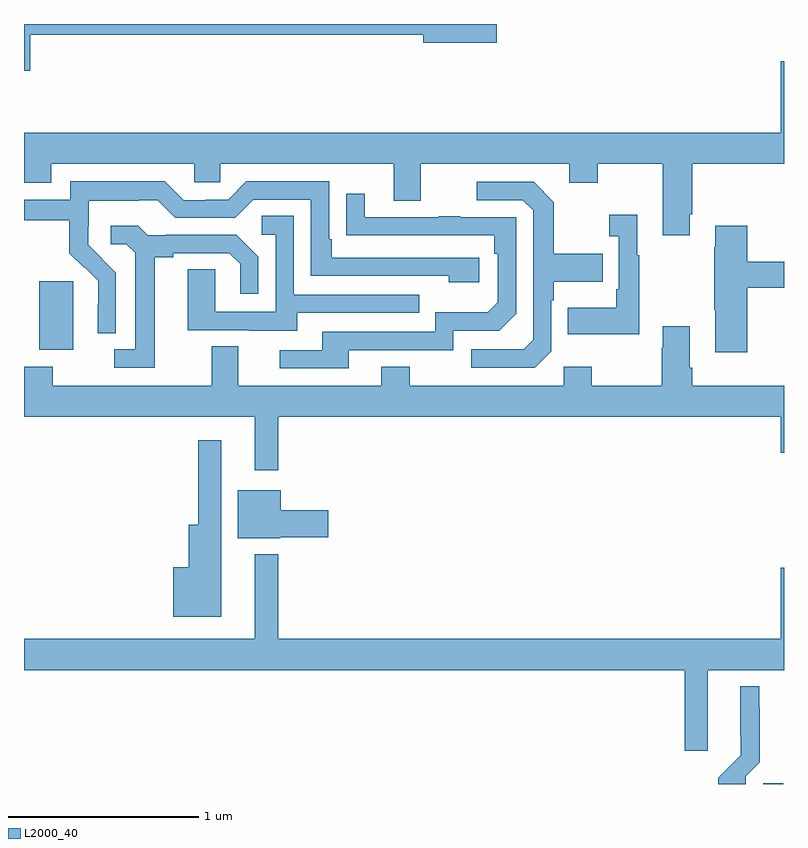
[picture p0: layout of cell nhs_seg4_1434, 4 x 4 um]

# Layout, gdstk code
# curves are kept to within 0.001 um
import gdstk
lib = gdstk.Library(unit=1e-6, precision=1e-09)
def R(c, l, rs):  # rectangles x0, y0, x1, y1
    for r in rs: c.add(gdstk.rectangle(r[:2], r[2:], *l))
def P(c, l, *ps):  # polygons
    for p in ps: c.add(gdstk.Polygon(p, *l))
L2000_40 = (2000, 40)

nhs_seg4_1434 = lib.new_cell('nhs_seg4_1434')
R(nhs_seg4_1434, L2000_40, [(188.891,782.9,188.995,782.905), (185.081,785.186,185.26,785.547)])
P(nhs_seg4_1434, L2000_40, [(185.033,786.844),(187.1,786.844),(187.1,786.802),(187.489,786.802),(187.489,786.9),(185,786.9),(185,786.654),(185.033,786.654)],
  [(188.503,785.899),(188.516,785.899),(188.516,786.164),(189,786.164),(189,786.703),(188.984,786.703),(188.984,786.328),(185,786.328),(185,786.065),(185.143,786.065),(185.143,786.164),(185.895,786.164),(185.895,786.066),(186.033,786.066),(186.033,786.164),(186.947,786.164),(186.947,785.97),(187.087,785.97),(187.087,786.164),(187.871,786.164),(187.871,786.065),(188.019,786.065),(188.019,786.164),(188.363,786.164),(188.363,785.787),(188.503,785.787)],
  [(185.484,785.59),(185.338,785.738),(185.338,785.835),(185.34,785.835),(185.34,785.969),(185.603,785.969),(185.603,785.973),(185.703,785.973),(185.796,785.88),(186.111,785.88),(186.207,785.976),(186.51,785.976),(186.51,785.574),(187.235,785.574),(187.235,785.54),(187.396,785.54),(187.396,785.67),(186.619,785.67),(186.619,785.767),(186.606,785.767),(186.606,786.072),(186.171,786.072),(186.075,785.976),(185.957,785.976),(185.957,785.973),(185.841,785.973),(185.741,786.073),(185.244,786.073),(185.244,785.976),(185,785.976),(185,785.868),(185.239,785.868),(185.239,785.693),(185.316,785.616),(185.319,785.619),(185.39,785.549),(185.39,785.426),(185.388,785.426),(185.388,785.272),(185.484,785.272)],
  [(187.776,785.178),(187.776,785.447),(187.789,785.447),(187.789,785.543),(188.045,785.543),(188.045,785.691),(187.789,785.691),(187.789,785.963),(187.683,786.069),(187.383,786.069),(187.383,785.973),(187.626,785.973),(187.68,785.919),(187.68,785.238),(187.629,785.187),(187.353,785.187),(187.353,785.091),(187.689,785.091)],
  [(186.709,785.184),(187.26,785.184),(187.26,785.286),(187.5,785.286),(187.59,785.376),(187.59,785.883),(187.295,785.883),(187.295,785.888),(187.183,785.888),(187.183,785.883),(186.793,785.883),(186.793,786.007),(186.697,786.007),(186.697,785.788),(187.474,785.787),(187.474,785.69),(187.494,785.69),(187.494,785.436),(187.441,785.383),(187.164,785.383),(187.164,785.28),(186.569,785.28),(186.569,785.184),(186.345,785.184),(186.345,785.088),(186.709,785.088)],
  [(188.239,785.683),(188.227,785.683),(188.227,785.896),(188.079,785.896),(188.079,785.783),(188.13,785.783),(188.13,785.503),(188.118,785.503),(188.118,785.407),(187.861,785.407),(187.861,785.267),(188.239,785.267)],
  [(186.439,785.379),(187.079,785.379),(187.079,785.475),(186.42,785.475),(186.42,785.891),(186.252,785.891),(186.252,785.79),(186.324,785.79),(186.324,785.385),(186.006,785.385),(186.006,785.609),(185.861,785.609),(185.861,785.289),(186.185,785.289),(186.185,785.285),(186.439,785.285)],
  [(188.807,785.512),(189,785.512),(189,785.648),(188.807,785.648),(188.807,785.839),(188.639,785.839),(188.639,785.726),(188.632,785.726),(188.632,785.395),(188.639,785.395),(188.639,785.172),(188.807,785.172)],
  [(185.689,785.672),(185.785,785.672),(185.785,785.694),(186.08,785.694),(186.137,785.637),(186.137,785.481),(186.234,785.481),(186.234,785.674),(186.118,785.79),(185.746,785.79),(185.746,785.787),(185.652,785.787),(185.6,785.839),(185.457,785.839),(185.457,785.742),(185.538,785.742),(185.585,785.695),(185.585,785.187),(185.475,785.187),(185.475,785.091),(185.689,785.091)],
  [(186.337,784.832),(188.984,784.832),(188.984,784.644),(189,784.644),(189,784.996),(188.516,784.996),(188.516,785.092),(188.503,785.092),(188.503,785.308),(188.363,785.308),(188.363,785.195),(188.356,785.195),(188.356,784.996),(187.989,784.996),(187.989,785.095),(187.842,785.095),(187.842,784.996),(187.029,784.996),(187.029,785.095),(186.881,785.095),(186.881,784.996),(186.127,784.996),(186.127,785.204),(185.987,785.204),(185.987,784.996),(185.151,784.996),(185.151,785.095),(185,785.095),(185,784.832),(186.215,784.832),(186.215,784.551),(186.337,784.551)],
  [(186.037,784.708),(185.916,784.708),(185.916,784.264),(185.867,784.264),(185.867,784.042),(185.786,784.042),(185.786,783.779),(186.037,783.779)],
  [(186.348,784.199),(186.601,784.199),(186.601,784.341),(186.352,784.341),(186.352,784.447),(186.125,784.447),(186.125,784.193),(186.348,784.193)],
  [(188.599,783.5),(189,783.5),(189,784.039),(188.984,784.039),(188.984,783.664),(186.337,783.664),(186.337,784.108),(186.215,784.108),(186.215,783.664),(185,783.664),(185,783.5),(188.477,783.5),(188.477,783.075),(188.599,783.075)],
  [(188.799,782.94),(188.873,783.014),(188.873,783.305),(188.869,783.305),(188.869,783.415),(188.771,783.415),(188.771,783.154),(188.772,783.154),(188.772,783.052),(188.654,782.934),(188.654,782.9),(188.799,782.9)])

lib.write_gds('nhs_seg4_1434.gds')
